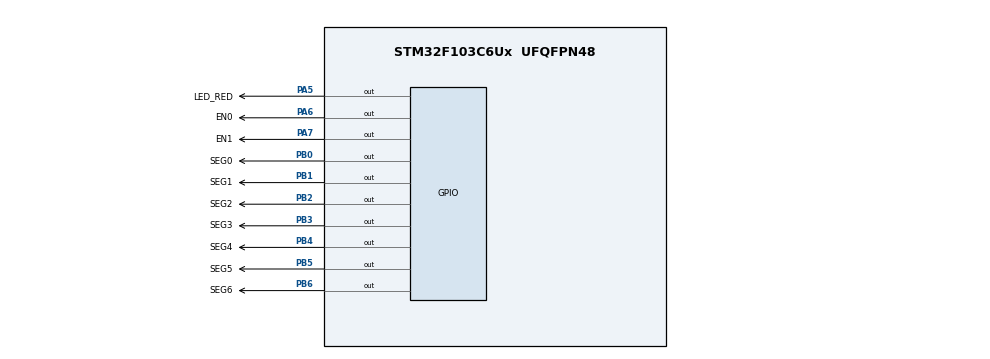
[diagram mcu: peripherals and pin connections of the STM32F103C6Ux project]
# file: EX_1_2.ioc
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Mcu.Family=STM32F1
Mcu.Name=STM32F103C6Ux
Mcu.Package=UFQFPN48
NVIC.PriorityGroup=NVIC_PRIORITYGROUP_4
NVIC.TIM2_IRQn=true\:0\:0\:false\:false\:true\:true\:true
PA5.GPIO_Label=LED_RED
PA5.Signal=GPIO_Output
PA6.GPIO_Label=EN0
PA6.Signal=GPIO_Output
PA7.GPIO_Label=EN1
PA7.Signal=GPIO_Output
PB0.GPIO_Label=SEG0
PB0.Signal=GPIO_Output
PB1.GPIO_Label=SEG1
PB1.Signal=GPIO_Output
PB2.GPIO_Label=SEG2
PB2.Signal=GPIO_Output
PB3.GPIO_Label=SEG3
PB3.Signal=GPIO_Output
PB4.GPIO_Label=SEG4
PB4.Signal=GPIO_Output
PB5.GPIO_Label=SEG5
PB5.Signal=GPIO_Output
PB6.GPIO_Label=SEG6
PB6.Signal=GPIO_Output
ProjectManager.HeapSize=0x200
ProjectManager.StackSize=0x400
ProjectManager.TargetToolchain=STM32CubeIDE
RCC.APB1Freq_Value=8000000
RCC.APB2Freq_Value=8000000
TIM2.Period=9
TIM2.Prescaler=7999
VP_SYS_VS_ND.Mode=No_Debug
VP_TIM2_VS_ClockSourceINT.Mode=Internal
board=custom

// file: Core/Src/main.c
/* USER CODE BEGIN Header */
/**
  ******************************************************************************
  * @file           : main.c
  * @brief          : Main program body
  ******************************************************************************
  * @attention
  *
  * <h2><center>&copy; Copyright (c) 2026 STMicroelectronics.
  * All rights reserved.</center></h2>
  *
  * This software component is licensed by ST under BSD 3-Clause license,
  * the "License"; You may not use this file except in compliance with the
  * License. You may obtain a copy of the License at:
  *                        opensource.org/licenses/BSD-3-Clause
  *
  ******************************************************************************
  */
/* USER CODE END Header */
#include "main.h"

TIM_HandleTypeDef htim2;

/* USER CODE BEGIN PV */
uint8_t active_led = 0;      /* 0 = first 7SEG showing "1", 1 = second 7SEG showing "2" */
int scan_counter = 0;        /* counts 10ms ticks from the timer interrupt */
#define SWITCH_TIME 50       /* 50 x 10ms = 500ms */
/* USER CODE END PV */

void SystemClock_Config(void);
static void MX_GPIO_Init(void);
static void MX_TIM2_Init(void);

/* USER CODE BEGIN 0 */
/* Segment patterns bit0=a ... bit6=g, 1 = segment should light up */
const uint8_t SEG_CODE[10] = {
    0x3F, 0x06, 0x5B, 0x4F, 0x66,
    0x6D, 0x7D, 0x07, 0x7F, 0x6F
};

void display7SEG(int num)
{
  uint8_t code = SEG_CODE[num];
  HAL_GPIO_WritePin(GPIOB, SEG0_Pin, (code & 0x01) ? GPIO_PIN_RESET : GPIO_PIN_SET); /* a */
  HAL_GPIO_WritePin(GPIOB, SEG1_Pin, (code & 0x02) ? GPIO_PIN_RESET : GPIO_PIN_SET); /* b */
  HAL_GPIO_WritePin(GPIOB, SEG2_Pin, (code & 0x04) ? GPIO_PIN_RESET : GPIO_PIN_SET); /* c */
  HAL_GPIO_WritePin(GPIOB, SEG3_Pin, (code & 0x08) ? GPIO_PIN_RESET : GPIO_PIN_SET); /* d */
  HAL_GPIO_WritePin(GPIOB, SEG4_Pin, (code & 0x10) ? GPIO_PIN_RESET : GPIO_PIN_SET); /* e */
  HAL_GPIO_WritePin(GPIOB, SEG5_Pin, (code & 0x20) ? GPIO_PIN_RESET : GPIO_PIN_SET); /* f */
  HAL_GPIO_WritePin(GPIOB, SEG6_Pin, (code & 0x40) ? GPIO_PIN_RESET : GPIO_PIN_SET); /* g */
}
/* USER CODE END 0 */

int main(void)
{

  /* MCU Configuration--------------------------------------------------------*/

  /* Reset of all peripherals, Initializes the Flash interface and the Systick. */
  HAL_Init();

  /* Configure the system clock */
  SystemClock_Config();

  /* Initialize all configured peripherals */
  MX_GPIO_Init();
  MX_TIM2_Init();
  /* USER CODE BEGIN 2 */
  display7SEG(1);
  HAL_GPIO_WritePin(GPIOA, EN0_Pin, GPIO_PIN_RESET);  /* enable 7SEG #1 */
  HAL_GPIO_WritePin(GPIOA, EN1_Pin, GPIO_PIN_SET);    /* keep 7SEG #2 off */

  HAL_TIM_Base_Start_IT(&htim2);
  /* USER CODE END 2 */

  /* Infinite loop */
  while (1)
  {

  }
}

void SystemClock_Config(void)
{
  RCC_OscInitTypeDef RCC_OscInitStruct = {0};
  RCC_ClkInitTypeDef RCC_ClkInitStruct = {0};

  /** Initializes the RCC Oscillators according to the specified parameters
  * in the RCC_OscInitTypeDef structure.
  */
  RCC_OscInitStruct.OscillatorType = RCC_OSCILLATORTYPE_HSI;
  RCC_OscInitStruct.HSIState = RCC_HSI_ON;
  RCC_OscInitStruct.HSICalibrationValue = RCC_HSICALIBRATION_DEFAULT;
  RCC_OscInitStruct.PLL.PLLState = RCC_PLL_NONE;
  if (HAL_RCC_OscConfig(&RCC_OscInitStruct) != HAL_OK)
  {
    Error_Handler();
  }
  /** Initializes the CPU, AHB and APB buses clocks
  */
  RCC_ClkInitStruct.ClockType = RCC_CLOCKTYPE_HCLK|RCC_CLOCKTYPE_SYSCLK
                              |RCC_CLOCKTYPE_PCLK1|RCC_CLOCKTYPE_PCLK2;
  RCC_ClkInitStruct.SYSCLKSource = RCC_SYSCLKSOURCE_HSI;
  RCC_ClkInitStruct.AHBCLKDivider = RCC_SYSCLK_DIV1;
  RCC_ClkInitStruct.APB1CLKDivider = RCC_HCLK_DIV1;
  RCC_ClkInitStruct.APB2CLKDivider = RCC_HCLK_DIV1;

  if (HAL_RCC_ClockConfig(&RCC_ClkInitStruct, FLASH_LATENCY_0) != HAL_OK)
  {
    Error_Handler();
  }
}

static void MX_TIM2_Init(void)
{

  TIM_ClockConfigTypeDef sClockSourceConfig = {0};
  TIM_MasterConfigTypeDef sMasterConfig = {0};

  htim2.Instance = TIM2;
  htim2.Init.Prescaler = 7999;
  htim2.Init.CounterMode = TIM_COUNTERMODE_UP;
  htim2.Init.Period = 9;
  htim2.Init.ClockDivision = TIM_CLOCKDIVISION_DIV1;
  htim2.Init.AutoReloadPreload = TIM_AUTORELOAD_PRELOAD_DISABLE;
  if (HAL_TIM_Base_Init(&htim2) != HAL_OK)
  {
    Error_Handler();
  }
  sClockSourceConfig.ClockSource = TIM_CLOCKSOURCE_INTERNAL;
  if (HAL_TIM_ConfigClockSource(&htim2, &sClockSourceConfig) != HAL_OK)
  {
    Error_Handler();
  }
  sMasterConfig.MasterOutputTrigger = TIM_TRGO_RESET;
  sMasterConfig.MasterSlaveMode = TIM_MASTERSLAVEMODE_DISABLE;
  if (HAL_TIMEx_MasterConfigSynchronization(&htim2, &sMasterConfig) != HAL_OK)
  {
    Error_Handler();
  }

}

static void MX_GPIO_Init(void)
{
  GPIO_InitTypeDef GPIO_InitStruct = {0};

  /* GPIO Ports Clock Enable */
  __HAL_RCC_GPIOA_CLK_ENABLE();
  __HAL_RCC_GPIOB_CLK_ENABLE();

  /*Configure GPIO pin Output Level */
  HAL_GPIO_WritePin(GPIOA, LED_RED_Pin|EN0_Pin|EN1_Pin, GPIO_PIN_RESET);

  /*Configure GPIO pin Output Level */
  HAL_GPIO_WritePin(GPIOB, SEG0_Pin|SEG1_Pin|SEG2_Pin|SEG3_Pin
                          |SEG4_Pin|SEG5_Pin|SEG6_Pin, GPIO_PIN_RESET);

  /*Configure GPIO pins : LED_RED_Pin EN0_Pin EN1_Pin */
  GPIO_InitStruct.Pin = LED_RED_Pin|EN0_Pin|EN1_Pin;
  GPIO_InitStruct.Mode = GPIO_MODE_OUTPUT_PP;
  GPIO_InitStruct.Pull = GPIO_NOPULL;
  GPIO_InitStruct.Speed = GPIO_SPEED_FREQ_LOW;
  HAL_GPIO_Init(GPIOA, &GPIO_InitStruct);

  /*Configure GPIO pins : SEG0_Pin SEG1_Pin SEG2_Pin SEG3_Pin
                           SEG4_Pin SEG5_Pin SEG6_Pin */
  GPIO_InitStruct.Pin = SEG0_Pin|SEG1_Pin|SEG2_Pin|SEG3_Pin
                          |SEG4_Pin|SEG5_Pin|SEG6_Pin;
  GPIO_InitStruct.Mode = GPIO_MODE_OUTPUT_PP;
  GPIO_InitStruct.Pull = GPIO_NOPULL;
  GPIO_InitStruct.Speed = GPIO_SPEED_FREQ_LOW;
  HAL_GPIO_Init(GPIOB, &GPIO_InitStruct);

}

/* USER CODE BEGIN 4 */
void HAL_TIM_PeriodElapsedCallback(TIM_HandleTypeDef *htim)
{
  scan_counter++;
  if (scan_counter >= SWITCH_TIME)
  {
    scan_counter = 0;
    active_led = !active_led;

    if (active_led == 0)
    {
      HAL_GPIO_WritePin(GPIOA, EN1_Pin, GPIO_PIN_SET);    /* turn off #2 first */
      display7SEG(1);
      HAL_GPIO_WritePin(GPIOA, EN0_Pin, GPIO_PIN_RESET);  /* turn on #1 */
    }
    else
    {
      HAL_GPIO_WritePin(GPIOA, EN0_Pin, GPIO_PIN_SET);    /* turn off #1 first */
      display7SEG(2);
      HAL_GPIO_WritePin(GPIOA, EN1_Pin, GPIO_PIN_RESET);  /* turn on #2 */
    }
  }
}
/* USER CODE END 4 */

void Error_Handler(void)
{
  __disable_irq();
  while (1)
  {
  }
}

/************************ (C) COPYRIGHT STMicroelectronics *****END OF FILE****/
